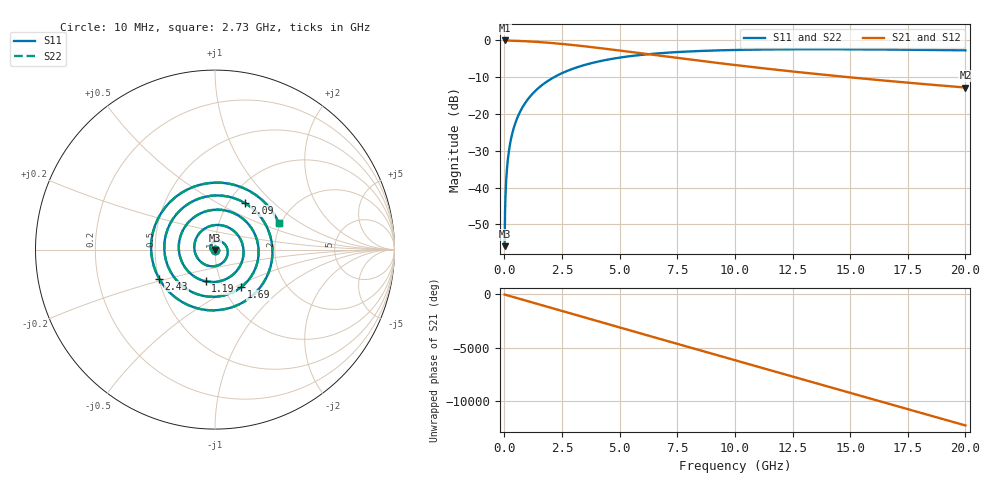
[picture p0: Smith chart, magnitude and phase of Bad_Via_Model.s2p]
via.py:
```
import numpy as np

# --- 1. Physics Constants & Setup ---
freq_start = 10e6   # 10 MHz
freq_stop  = 20e9   # 20 GHz
num_points = 2000
freq = np.linspace(freq_start, freq_stop, num_points)
w = 2 * np.pi * freq

# Impedance Targets
Z0_line = 85.0      # Target Diff Impedance (Ohms)
Z0_ref  = 85.0      # Port Reference Impedance

# The "Bad" Via (Capacitive Discontinuity)
# A 25mil anti-pad on a thick PCB creates excess capacitance.
# Modeled as a shunt capacitor in the middle of the line.
C_via = 0.6e-12     # 0.6 pF (This causes the reflection)

# Transmission Line Properties (Megtron-6ish)
# Loss model: alpha = a_cond * sqrt(f) + a_diel * f
L_total_inch = 10.0
L_seg_meter  = (L_total_inch / 2.0) * 0.0254 # Split into two 5-inch segments

# Loss coefficients (Approx for stripline)
alpha_cond = 2.5e-7  # Skin effect
alpha_diel = 5.0e-11 # Dielectric loss

# --- 2. ABCD Matrix Calculation ---
# We calculate the matrix for: Line (5") -> Via (Cap) -> Line (5")

# Propagation Constant (Gamma)
alpha = alpha_cond * np.sqrt(freq) + alpha_diel * freq
beta  = w / (1.5e8) # Approx phase velocity (Dk ~ 4)
gamma = alpha + 1j * beta

# T-Line ABCD Matrix (Half Channel)
# A = cosh(gl), B = Z0*sinh(gl), C = sinh(gl)/Z0, D = cosh(gl)
cosh_gl = np.cosh(gamma * L_seg_meter)
sinh_gl = np.sinh(gamma * L_seg_meter)

A_t = cosh_gl
B_t = Z0_line * sinh_gl
C_t = sinh_gl / Z0_line
D_t = cosh_gl

# Via ABCD Matrix (Shunt Capacitor)
# A=1, B=0, C=jwc, D=1
A_v = np.ones_like(freq)
B_v = np.zeros_like(freq)
C_v = 1j * w * C_via
D_v = np.ones_like(freq)

# Cascade Matrices: [T_total] = [T_line] * [T_via] * [T_line]
# MatMul: [[A1, B1], [C1, D1]] * [[A2, B2], [C2, D2]]
# Step 1: Line * Via
A_tv = A_t*A_v + B_t*C_v
B_tv = A_t*B_v + B_t*D_v
C_tv = C_t*A_v + D_t*C_v
D_tv = C_t*B_v + D_t*D_v

# Step 2: (Line*Via) * Line
A_sys = A_tv*A_t + B_tv*C_t
B_sys = A_tv*B_t + B_tv*D_t
C_sys = C_tv*A_t + D_tv*C_t
D_sys = C_tv*B_t + D_tv*D_t

# --- 3. Convert ABCD to S-Parameters ---
# Formula for S21 and S11 from ABCD normalized to Z0_ref
denom = A_sys + B_sys/Z0_ref + C_sys*Z0_ref + D_sys

s21 = 2.0 / denom
s11 = (A_sys + B_sys/Z0_ref - C_sys*Z0_ref - D_sys) / denom
# Assume symmetry/reciprocity
s12 = s21
s22 = s11

# --- 4. Write Touchstone (.s2p) File ---
filename = "Bad_Via_Model.s2p"
with open(filename, 'w') as f:
    f.write("! Validation Capstone Generated Data\n")
    f.write("! Freq: 10MHz - 20GHz, 10 inch trace, 0.6pF Via Cap\n")
    f.write("# Hz S RI R 85.0\n") # RI = Real/Imag, Ref Imp = 85 Ohms
    
    for i in range(len(freq)):
        row = f"{freq[i]:.0f} {s11[i].real:.5f} {s11[i].imag:.5f} {s21[i].real:.5f} {s21[i].imag:.5f} {s12[i].real:.5f} {s12[i].imag:.5f} {s22[i].real:.5f} {s22[i].imag:.5f}\n"
        f.write(row)

print(f"Generated {filename}. Insertion Loss @ 8GHz: {20*np.log10(np.abs(s21[800])):.2f} dB")
```
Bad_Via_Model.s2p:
! Validation Capstone Generated Data
! Freq: 10MHz - 20GHz, 10 inch trace, 0.6pF Via Cap
# Hz S RI R 85.0
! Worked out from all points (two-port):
!   2000 points, 10 MHz to 20 GHz, reference 85 ohm
!   highest |S21| = 0.00 dB at 10 MHz (marker M1); lowest = -12.8 dB at 20 GHz (marker M2)
!   |S21| within 3 dB of the highest: start of sweep to 5.325 GHz
!   lowest |S11| = -55.9 dB at 10 MHz (marker M3), VSWR 1.00, Z = 85 - j0.27 ohm
!   |S11| at or under -10 dB: start of sweep to 2.152 GHz
!   |S22| runs from -55.9 to -2.4 dB; largest |S21 - S12| = 0
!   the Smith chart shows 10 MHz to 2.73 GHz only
!   S11 on the Smith chart (normalised r, x): 10 MHz: 1.00, -0.00; 1.19 GHz: 0.85, -0.31; 1.69 GHz: 1.21, -0.54; 2.09 GHz: 1.19, +0.68; 2.43 GHz: 0.50, -0.18; 2.73 GHz: 1.96, +0.67
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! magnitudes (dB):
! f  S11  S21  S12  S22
! 10 MHz  -55.9  0.0  0.0  -55.9
! 150 MHz  -32.4  0.0  0.0  -32.4
! 310 MHz  -26.1  -0.1  -0.1  -26.1
! 650 MHz  -19.8  -0.1  -0.1  -19.8
! 1.19 GHz  -14.7  -0.3  -0.3  -14.7
! 1.69 GHz  -11.9  -0.5  -0.5  -11.9
! 2.09 GHz  -10.2  -0.7  -0.7  -10.2
! 2.43 GHz  -9.1  -0.9  -0.9  -9.1
! 2.73 GHz  -8.3  -1.1  -1.1  -8.3
! 10.01 GHz  -2.6  -6.7  -6.7  -2.6
! 20 GHz  -2.7  -12.8  -12.8  -2.7
